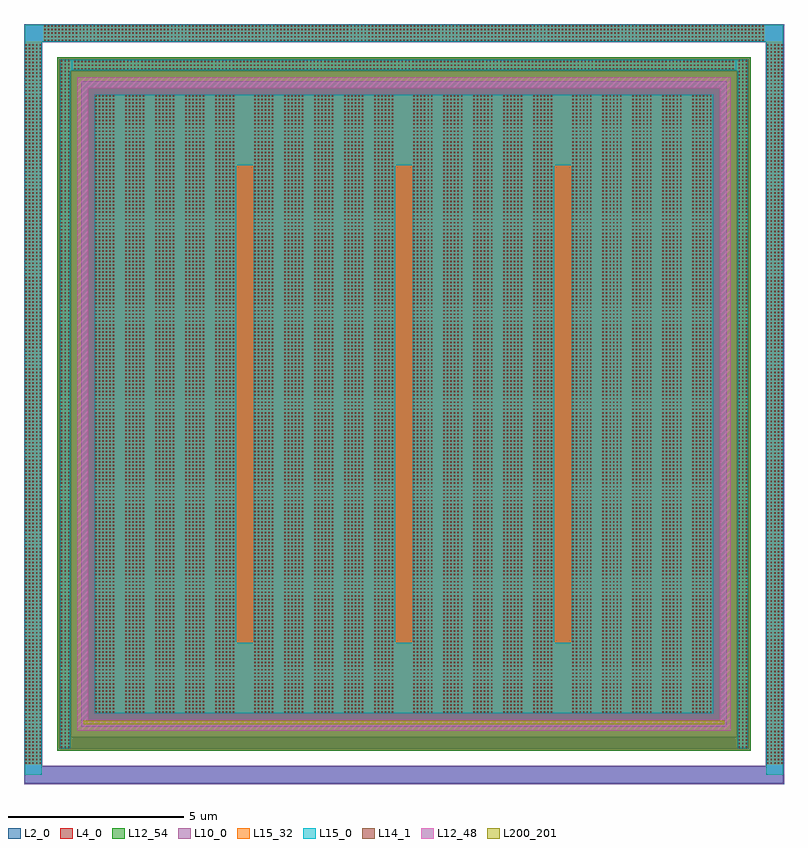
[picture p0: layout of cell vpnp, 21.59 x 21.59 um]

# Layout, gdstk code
import gdstk
lib = gdstk.Library(unit=1e-6, precision=1e-09)
def R(c, l, rs):  # rectangles x0, y0, x1, y1
    for r in rs: c.add(gdstk.rectangle(r[:2], r[2:], *l))
def A(c, l, x, y, w, h, nx, ny, dx, dy):  # array of equal rectangles
    R(c, l, [(x+i*dx, y+j*dy, x+i*dx+w, y+j*dy+h) for i in range(nx) for j in range(ny)])
L2_0 = (2, 0)
L4_0 = (4, 0)
L10_0 = (10, 0)
L12_48 = (12, 48)
L12_54 = (12, 54)
L14_1 = (14, 1)
L15_0 = (15, 0)
L15_32 = (15, 32)
L200_201 = (200, 201)

vpnp = lib.new_cell('vpnp')
R(vpnp, L2_0, [(-17.279,-9.309,4.273,-8.829), (-17.279,-8.829,-16.799,11.763), (3.793,-8.829,4.273,11.763), (-16.299,-8.329,3.293,-7.989), (-16.299,-7.989,-15.959,10.923), (2.953,-7.989,3.293,10.923), (-15.603,-7.633,2.597,10.567), (-16.299,10.923,3.293,11.263), (-17.279,11.763,4.273,12.243)])
R(vpnp, L4_0, [(-16.355,-8.385,3.349,11.319)])
R(vpnp, L10_0, [(-17.3,-9.33,4.294,-8.808), (-17.3,-8.808,-16.778,11.742), (3.772,-8.808,4.294,11.742), (-15.673,-7.703,2.667,10.637), (-17.3,11.742,4.294,12.264)])
R(vpnp, L12_48, [(-15.784,-7.814,2.778,-7.508), (-15.784,-7.508,-15.478,10.442), (2.472,-7.508,2.778,10.442), (-15.784,10.442,2.778,10.748)])
R(vpnp, L12_54, [(-16.355,-8.385,3.349,11.319)])
A(vpnp, L14_1, -17.259, -8.753, 0.04, 0.04, 5, 205, 0.1, 0.1)
A(vpnp, L14_1, 3.813, -8.753, 0.04, 0.04, 5, 205, 0.1, 0.1)
A(vpnp, L14_1, -16.249, -8.303, 0.04, 0.04, 3, 196, 0.1, 0.1)
A(vpnp, L14_1, 3.003, -8.303, 0.04, 0.04, 3, 196, 0.1, 0.1)
A(vpnp, L14_1, -15.273, -7.303, 0.04, 0.04, 6, 176, 0.1, 0.1)
A(vpnp, L14_1, -14.421, -7.303, 0.04, 0.04, 6, 176, 0.1, 0.1)
A(vpnp, L14_1, -13.569, -7.303, 0.04, 0.04, 6, 176, 0.1, 0.1)
A(vpnp, L14_1, -12.717, -7.303, 0.04, 0.04, 6, 176, 0.1, 0.1)
A(vpnp, L14_1, -11.865, -7.303, 0.04, 0.04, 6, 176, 0.1, 0.1)
A(vpnp, L14_1, -10.754, -7.303, 0.04, 0.04, 6, 176, 0.1, 0.1)
A(vpnp, L14_1, -9.902, -7.303, 0.04, 0.04, 6, 176, 0.1, 0.1)
A(vpnp, L14_1, -9.05, -7.303, 0.04, 0.04, 6, 176, 0.1, 0.1)
A(vpnp, L14_1, -8.198, -7.303, 0.04, 0.04, 6, 176, 0.1, 0.1)
A(vpnp, L14_1, -7.346, -7.303, 0.04, 0.04, 6, 176, 0.1, 0.1)
A(vpnp, L14_1, -6.235, -7.303, 0.04, 0.04, 6, 176, 0.1, 0.1)
A(vpnp, L14_1, -5.383, -7.303, 0.04, 0.04, 6, 176, 0.1, 0.1)
A(vpnp, L14_1, -4.531, -7.303, 0.04, 0.04, 6, 176, 0.1, 0.1)
A(vpnp, L14_1, -3.679, -7.303, 0.04, 0.04, 6, 176, 0.1, 0.1)
A(vpnp, L14_1, -2.827, -7.303, 0.04, 0.04, 6, 176, 0.1, 0.1)
A(vpnp, L14_1, -1.716, -7.303, 0.04, 0.04, 6, 176, 0.1, 0.1)
A(vpnp, L14_1, -0.864, -7.303, 0.04, 0.04, 6, 176, 0.1, 0.1)
A(vpnp, L14_1, -0.012, -7.303, 0.04, 0.04, 6, 176, 0.1, 0.1)
A(vpnp, L14_1, 0.84, -7.303, 0.04, 0.04, 6, 176, 0.1, 0.1)
A(vpnp, L14_1, 1.692, -7.303, 0.04, 0.04, 6, 176, 0.1, 0.1)
A(vpnp, L14_1, -15.873, 10.973, 0.04, 0.04, 188, 3, 0.1, 0.1)
A(vpnp, L14_1, -16.723, 11.783, 0.04, 0.04, 205, 5, 0.1, 0.1)
A(vpnp, L15_0, -15.291, -5.321, 4.019, 13.576, 4, 1, 4.519, 0)
R(vpnp, L15_0, [(-17.277,-9.069,-16.801,12.241), (3.795,-9.069,4.271,12.241), (-16.267,-8.321,-15.991,11.255), (2.985,-8.321,3.261,11.255), (-15.291,-7.321,2.285,-5.321), (-15.291,8.255,2.285,10.255), (-15.991,10.955,2.985,11.255), (-16.801,11.765,3.795,12.241)])
R(vpnp, L15_32, [(-17.277,-8.771,-16.801,11.765), (3.795,-8.771,4.271,11.765), (-16.267,-8.321,-15.991,11.255), (2.985,-8.321,3.261,11.255), (-15.291,-7.321,2.285,10.255), (-15.891,10.955,2.885,11.231), (-16.741,11.765,3.735,12.241)])
R(vpnp, L200_201, [(-15.603,-7.633,2.597,-7.533)])

lib.write_gds('vpnp.gds')
